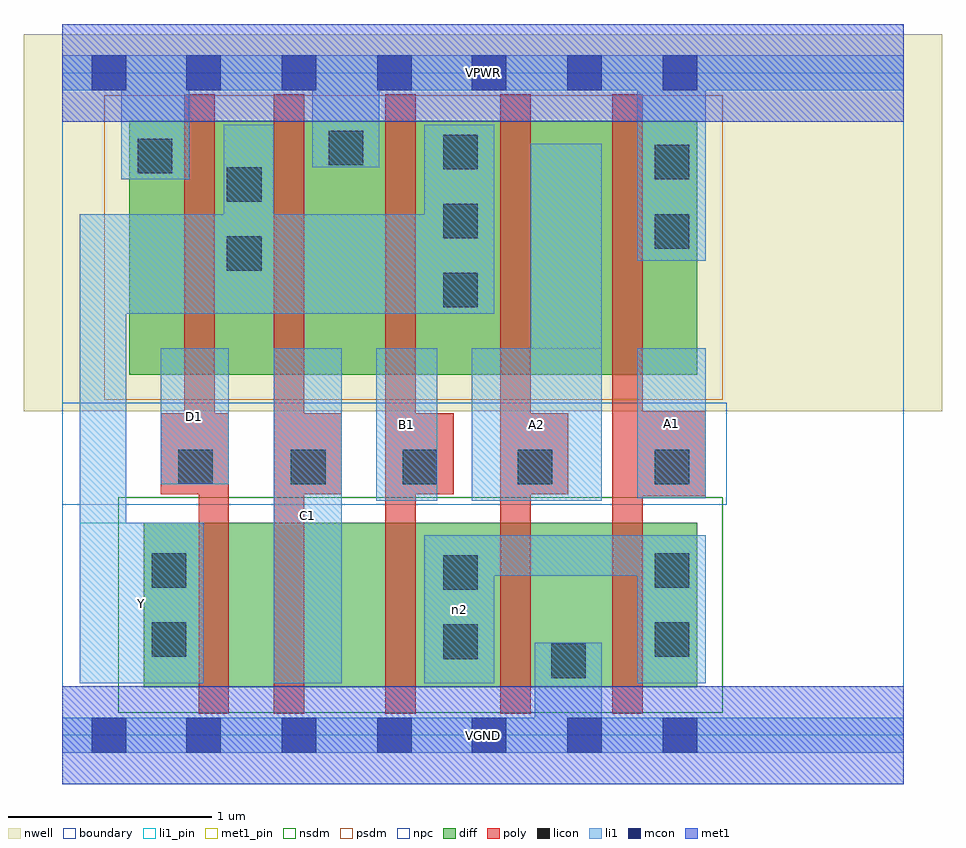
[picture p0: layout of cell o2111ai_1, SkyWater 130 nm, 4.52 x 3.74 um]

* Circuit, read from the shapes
.subckt o2111ai_1 A1 A2 B1 C1 D1 VGND VPWR Y n2
XM1 n1 D1 Y VSUBS sky130_fd_pr__nfet_01v8 w=0.81 l=0.15
XM2 n3 C1 n1 VSUBS sky130_fd_pr__nfet_01v8 w=0.81 l=0.15
XM3 n2 B1 n3 VSUBS sky130_fd_pr__nfet_01v8 w=0.81 l=0.15
XM4 VGND A2 n2 VSUBS sky130_fd_pr__nfet_01v8 w=0.81 l=0.15
XM5 n2 A1 VGND VSUBS sky130_fd_pr__nfet_01v8 w=0.81 l=0.15
XM6 Y D1 VPWR n4 sky130_fd_pr__pfet_01v8 w=1.25 l=0.15
XM7 VPWR C1 Y n4 sky130_fd_pr__pfet_01v8 w=1.25 l=0.15
XM8 Y B1 VPWR n4 sky130_fd_pr__pfet_01v8 w=1.25 l=0.15
XM9 n5 A2 Y n4 sky130_fd_pr__pfet_01v8 w=1.25 l=0.15
XM10 VPWR A1 n5 n4 sky130_fd_pr__pfet_01v8 w=1.25 l=0.15
.ends

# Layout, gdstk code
import gdstk
lib = gdstk.Library(unit=1e-6, precision=1e-09)
def R(c, l, rs):  # rectangles x0, y0, x1, y1
    for r in rs: c.add(gdstk.rectangle(r[:2], r[2:], *l))
def A(c, l, x, y, w, h, nx, ny, dx, dy):  # array of equal rectangles
    R(c, l, [(x+i*dx, y+j*dy, x+i*dx+w, y+j*dy+h) for i in range(nx) for j in range(ny)])
nwell = (64, 20)
diff = (65, 20)
poly = (66, 20)
licon = (66, 44)
li1_pin = (67, 16)
li1 = (67, 20)
mcon = (67, 44)
met1_pin = (68, 16)
met1 = (68, 20)
nsdm = (93, 44)
psdm = (94, 20)
npc = (95, 20)
boundary = (235, 4)

o2111ai_1 = lib.new_cell('o2111ai_1')
R(o2111ai_1, nwell, [(-0.19,1.595,4.33,3.45), (0,1.595,4.14,3.45)])
R(o2111ai_1, diff, [(0.4,0.235,3.125,1.045), (0.33,1.775,3.125,3.025)])
R(o2111ai_1, poly, [(0.67,0.105,0.75,3.155), (0.67,0.105,0.82,1.585), (1.04,0.105,1.19,3.155), (1.59,0.105,1.74,3.155), (2.155,0.105,2.305,3.155), (2.705,0.105,2.855,3.155), (2.705,1.175,3.165,1.595), (0.485,1.185,0.82,1.585), (0.6,1.185,0.67,3.155), (1.04,1.185,1.375,1.585), (1.59,1.185,1.925,1.585), (2.155,1.185,2.49,1.585)])
A(o2111ai_1, licon, 1.875, 2.105, 0.17, 0.17, 1, 3, 0, 0.34)
R(o2111ai_1, licon, [(2.405,0.28,2.575,0.45), (1.875,0.375,2.045,0.545), (0.44,0.385,0.61,0.555), (2.915,0.385,3.085,0.555), (1.875,0.715,2.045,0.885), (0.44,0.725,0.61,0.895), (2.915,0.725,3.085,0.895), (0.57,1.235,0.74,1.405), (1.125,1.235,1.295,1.405), (1.675,1.235,1.845,1.405), (2.24,1.235,2.41,1.405), (2.915,1.235,3.085,1.405), (0.81,2.285,0.98,2.455), (2.915,2.395,3.085,2.565), (0.81,2.625,0.98,2.795), (2.915,2.735,3.085,2.905), (0.37,2.765,0.54,2.935), (1.31,2.805,1.48,2.975)])
R(o2111ai_1, li1_pin, [(0.085,0.255,0.695,1.045), (1.04,0.255,1.375,1.905), (1.545,1.155,1.845,1.905), (2.015,1.155,2.655,1.905), (2.83,1.165,3.165,1.905), (0.485,1.235,0.82,1.905)])
R(o2111ai_1, li1, [(0,-0.085,4.14,0.085), (2.325,-0.085,2.655,0.455), (0.085,0.255,0.695,1.045), (0.085,0.255,0.315,2.565), (1.04,0.255,1.375,1.905), (1.78,0.255,2.125,0.985), (2.83,0.255,3.165,0.985), (1.78,0.785,3.165,0.985), (1.545,1.155,1.845,1.905), (2.015,1.155,2.655,1.905), (2.305,1.155,2.655,2.91), (2.83,1.165,3.165,1.905), (0.485,1.235,0.82,1.905), (0.085,2.075,2.125,2.565), (0.795,2.075,1.04,3.005), (1.78,2.075,2.125,3.005), (2.83,2.335,3.165,3.345), (0.29,2.735,0.625,3.345), (1.23,2.795,1.56,3.345), (0,3.175,4.14,3.345)])
A(o2111ai_1, mcon, 0.61, -0.085, 0.17, 0.17, 3, 2, 0.47, 3.26)
A(o2111ai_1, mcon, 2.015, -0.085, 0.17, 0.17, 3, 2, 0.47, 3.26)
R(o2111ai_1, mcon, [(0.145,-0.085,0.315,0.085), (0.145,3.175,0.315,3.345)])
R(o2111ai_1, met1_pin, [(0,-0.24,4.14,0.24), (0,3.02,4.14,3.5)])
R(o2111ai_1, met1, [(0,-0.24,4.14,0.24), (0,3.02,4.14,3.5)])
R(o2111ai_1, nsdm, [(0.275,0.11,3.25,1.17)])
R(o2111ai_1, psdm, [(0.205,1.65,3.25,3.15)])
R(o2111ai_1, npc, [(0,1.135,3.27,1.635)])
R(o2111ai_1, boundary, [(0,0,4.14,3.26)])
o2111ai_1.add(gdstk.Label('A1', (2.997,1.535), layer=67, texttype=5))
o2111ai_1.add(gdstk.Label('A2', (2.335,1.53), layer=67, texttype=5))
o2111ai_1.add(gdstk.Label('B1', (1.695,1.53), layer=67, texttype=5))
o2111ai_1.add(gdstk.Label('C1', (1.207,1.08), layer=67, texttype=5))
o2111ai_1.add(gdstk.Label('D1', (0.652,1.57), layer=67, texttype=5))
o2111ai_1.add(gdstk.Label('Y', (0.39,0.65), layer=67, texttype=5))
o2111ai_1.add(gdstk.Label('n2', (1.952,0.62), layer=67, texttype=5))
o2111ai_1.add(gdstk.Label('VPWR', (2.07,3.26), layer=68, texttype=5))
o2111ai_1.add(gdstk.Label('VGND', (2.07,0), layer=68, texttype=5))
o2111ai_1.add(gdstk.Label('A1', (2.997,1.535), layer=67, texttype=16))
o2111ai_1.add(gdstk.Label('A2', (2.335,1.53), layer=67, texttype=16))
o2111ai_1.add(gdstk.Label('B1', (1.695,1.53), layer=67, texttype=16))
o2111ai_1.add(gdstk.Label('C1', (1.207,1.08), layer=67, texttype=16))
o2111ai_1.add(gdstk.Label('D1', (0.652,1.57), layer=67, texttype=16))
o2111ai_1.add(gdstk.Label('Y', (0.39,0.65), layer=67, texttype=16))
o2111ai_1.add(gdstk.Label('VPWR', (2.07,3.26), layer=68, texttype=16))
o2111ai_1.add(gdstk.Label('VGND', (2.07,0), layer=68, texttype=16))

lib.write_gds('o2111ai_1.gds')
